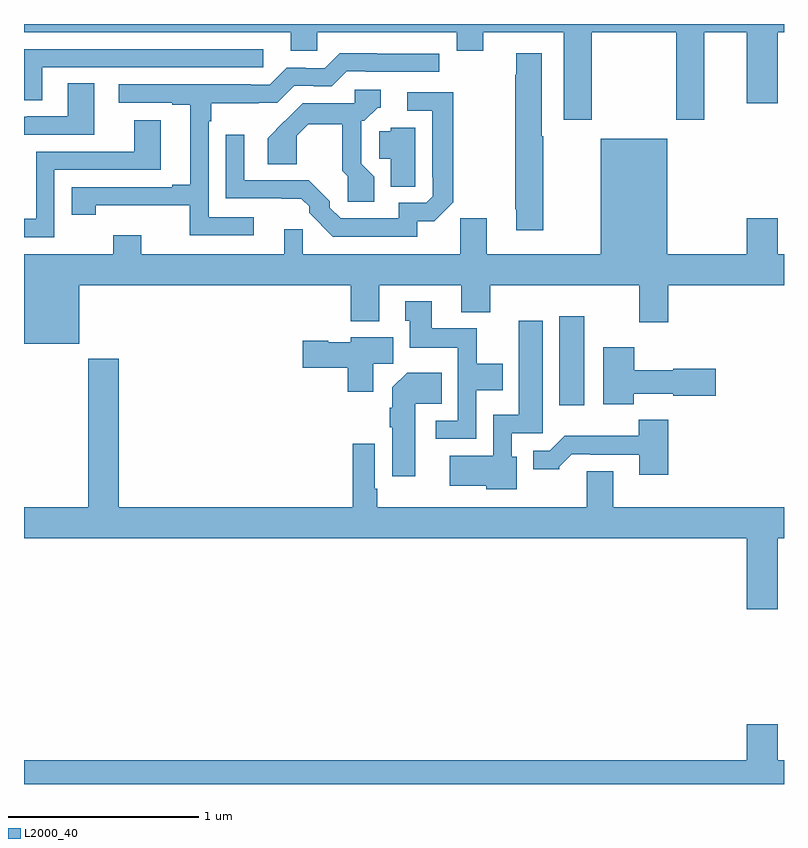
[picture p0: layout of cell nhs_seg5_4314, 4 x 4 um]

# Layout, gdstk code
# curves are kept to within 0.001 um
import gdstk
lib = gdstk.Library(unit=1e-6, precision=1e-09)
def R(c, l, rs):  # rectangles x0, y0, x1, y1
    for r in rs: c.add(gdstk.rectangle(r[:2], r[2:], *l))
def P(c, l, *ps):  # polygons
    for p in ps: c.add(gdstk.Polygon(p, *l))
L2000_40 = (2000, 40)

nhs_seg5_4314 = lib.new_cell('nhs_seg5_4314')
R(nhs_seg5_4314, L2000_40, [(367.817,858.792,367.948,859.261)])
P(nhs_seg5_4314, L2000_40, [(367.989,860.756),(368.434,860.756),(368.434,860.295),(368.581,860.295),(368.581,860.756),(368.804,860.756),(368.804,860.382),(368.968,860.382),(368.968,860.756),(369,860.756),(369,860.799),(365,860.799),(365,860.756),(366.404,860.756),(366.404,860.658),(366.543,860.658),(366.543,860.756),(367.277,860.756),(367.277,860.657),(367.417,860.657),(367.417,860.756),(367.841,860.756),(367.841,860.295),(367.989,860.295)],
  [(365.095,860.571),(366.259,860.571),(366.259,860.667),(365,860.667),(365,860.398),(365.095,860.398)],
  [(367.734,860.207),(367.726,860.207),(367.726,860.644),(367.592,860.644),(367.592,860.531),(367.585,860.531),(367.585,859.825),(367.592,859.825),(367.592,859.713),(367.734,859.713)],
  [(366.208,859.782),(365.973,859.782),(365.973,860.288),(365.986,860.288),(365.986,860.382),(366.236,860.382),(366.236,860.385),(366.333,860.385),(366.423,860.475),(366.524,860.475),(366.524,860.472),(366.621,860.472),(366.699,860.55),(366.799,860.55),(366.799,860.547),(367.186,860.547),(367.186,860.643),(366.661,860.644),(366.582,860.565),(366.482,860.565),(366.482,860.568),(366.384,860.568),(366.294,860.478),(366.194,860.478),(366.194,860.481),(365.499,860.481),(365.499,860.385),(365.78,860.385),(365.78,860.373),(365.876,860.373),(365.876,859.954),(365.78,859.954),(365.78,859.941),(365.25,859.941),(365.25,859.794),(365.378,859.794),(365.378,859.844),(365.872,859.844),(365.872,859.686),(366.208,859.686)],
  [(365.371,860.486),(365.231,860.486),(365.231,860.313),(365.017,860.313),(365.017,860.31),(365,860.31),(365,860.217),(365.371,860.217)],
  [(366.844,859.994),(366.774,860.064),(366.774,860.289),(366.792,860.289),(366.861,860.358),(366.877,860.358),(366.877,860.454),(366.741,860.454),(366.741,860.382),(366.467,860.382),(366.37,860.285),(366.369,860.286),(366.282,860.198),(366.282,860.062),(366.436,860.062),(366.436,860.21),(366.497,860.271),(366.676,860.271),(366.676,860.026),(366.705,859.997),(366.705,859.863),(366.844,859.863)],
  [(367.071,859.761),(367.16,859.761),(367.26,859.86),(367.26,860.051),(367.258,860.051),(367.258,860.439),(367.017,860.439),(367.017,860.343),(367.149,860.343),(367.149,859.993),(367.152,859.993),(367.152,859.893),(367.116,859.857),(366.972,859.857),(366.972,859.776),(366.666,859.776),(366.609,859.833),(366.609,859.867),(366.499,859.977),(366.159,859.977),(366.159,860.215),(366.063,860.215),(366.063,859.881),(366.46,859.88),(366.501,859.84),(366.501,859.805),(366.626,859.68),(367.071,859.68)],
  [(365.16,860.031),(365.719,860.031),(365.719,860.293),(365.579,860.293),(365.579,860.127),(365.064,860.127),(365.064,859.773),(365,859.773),(365,859.677),(365.16,859.677)],
  [(367.059,860.254),(366.93,860.254),(366.93,860.235),(366.87,860.235),(366.87,860.09),(366.929,860.09),(366.929,859.942),(367.059,859.942)],
  [(365.29,859.424),(366.719,859.424),(366.719,859.235),(366.871,859.235),(366.871,859.424),(367.301,859.424),(367.301,859.283),(367.454,859.283),(367.454,859.424),(368.237,859.424),(368.237,859.23),(368.39,859.23),(368.39,859.424),(369,859.424),(369,859.588),(368.968,859.588),(368.968,859.777),(368.804,859.777),(368.804,859.588),(368.386,859.588),(368.386,860.194),(368.036,860.194),(368.036,859.588),(367.435,859.588),(367.435,859.776),(367.297,859.776),(367.297,859.588),(366.467,859.588),(366.467,859.718),(366.371,859.718),(366.371,859.588),(365.617,859.588),(365.617,859.687),(365.47,859.687),(365.47,859.588),(365,859.588),(365,859.115),(365.29,859.115)],
  [(367.38,858.872),(367.519,858.872),(367.519,859.012),(367.383,859.012),(367.383,859.198),(367.147,859.198),(367.147,859.339),(367.007,859.339),(367.007,859.236),(367.031,859.236),(367.031,859.094),(367.284,859.094),(367.284,858.711),(367.167,858.711),(367.167,858.615),(367.38,858.615)],
  [(367.594,858.522),(367.566,858.522),(367.566,858.645),(367.729,858.645),(367.729,859.237),(367.604,859.237),(367.604,858.742),(367.47,858.742),(367.47,858.526),(367.242,858.526),(367.242,858.368),(367.434,858.368),(367.434,858.35),(367.594,858.35)],
  [(366.838,859.012),(366.943,859.012),(366.943,859.15),(366.72,859.15),(366.72,859.123),(366.6,859.123),(366.6,859.131),(366.468,859.131),(366.468,858.989),(366.704,858.989),(366.704,858.864),(366.838,858.864)],
  [(368.21,858.854),(368.418,858.854),(368.418,858.842),(368.641,858.842),(368.641,858.984),(368.418,858.984),(368.418,858.976),(368.212,858.976),(368.212,859.099),(368.048,859.099),(368.048,858.797),(368.21,858.797)],
  [(368.968,858.092),(369,858.092),(369,858.256),(368.101,858.256),(368.101,858.446),(367.961,858.446),(367.961,858.256),(366.859,858.256),(366.859,858.352),(366.846,858.352),(366.846,858.589),(366.73,858.589),(366.73,858.256),(365.498,858.256),(365.498,859.036),(365.338,859.036),(365.338,858.256),(365,858.256),(365,858.092),(368.804,858.092),(368.804,857.718),(368.968,857.718)],
  [(367.06,858.8),(367.199,858.8),(367.199,858.964),(367.016,858.964),(366.938,858.886),(366.938,858.779),(366.926,858.779),(366.926,858.676),(366.938,858.676),(366.938,858.42),(367.06,858.42)],
  [(368.39,858.715),(368.235,858.715),(368.235,858.631),(367.846,858.631),(367.767,858.552),(367.679,858.552),(367.679,858.455),(367.818,858.455),(367.818,858.47),(367.882,858.534),(367.981,858.534),(367.981,858.531),(368.237,858.531),(368.237,858.426),(368.39,858.426)],
  [(369,856.924),(368.968,856.924),(368.968,857.113),(368.804,857.113),(368.804,856.924),(365,856.924),(365,856.799),(369,856.799)])

lib.write_gds('nhs_seg5_4314.gds')
